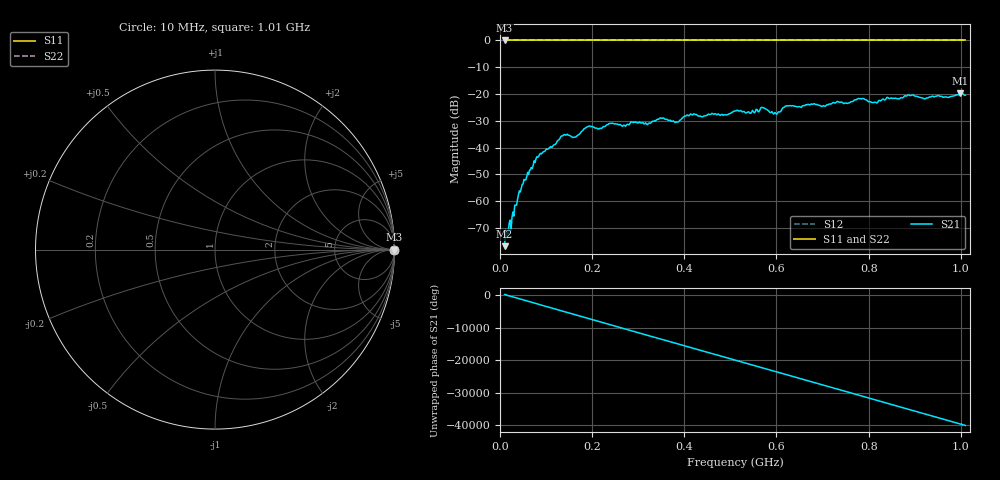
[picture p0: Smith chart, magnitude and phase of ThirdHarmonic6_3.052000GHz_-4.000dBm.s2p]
! 8/17/2025 8:52:04 AM
! C:\ANRITSUVNA\TEMP\TEMP.S2P
! CHANNEL.1
! TR.MEASUREMENT
! RAW.DATA
! RF.CORRECTION.OFF
! AVERAGING.OFF
! IF.BANDWIDTH: 5KHZ
! SWEEPTYPE:  FREQ.SWEEP(Linear)
! Reference Plane Port Info
! PORT:  PORT1  PORT2
! DISTANCE:  0  m  0  m
! TIME:  0  s  0  s
! PHASE.OFFSET:  0  deg.  0  deg.
! LOSS:  0  dB  0  dB
! REF.LOSS:  0  dB  0  dB
! REF.FREQ:  0  Hz  0  Hz
! Power Info
! POWER:  -20  dBm  -20  dBm
! EFF.POWER:  -20  dBm  -20  dBm
! SOURCE.ATTEN:  0  dB  0  dB
! TEST.ATTEN:  0  dB  0  dB
# GHZ S RI R 50.0
! FREQ.GHZ  S11RE  S11IM  S21RE  S21IM  S12RE  S12IM  S22RE  S22IM
!; PortSelection: Port_12
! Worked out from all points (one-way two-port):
!   501 points, 10 MHz to 1.01 GHz, reference 50 ohm
!   highest |S21| = -19.75 dB at 998 MHz (marker M1); lowest = -76.9 dB at 10 MHz (marker M2)
!   lowest |S11| = 0.0 dB at 10 MHz (marker M3)
!   |S11| at or under -10 dB: nowhere
!   |S22| runs from 0.0 to 0.0 dB; largest |S21 - S12| = 1.1
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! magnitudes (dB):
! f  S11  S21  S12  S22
! 10 MHz  0.0  -76.9  0.0  0.0
! 44 MHz  0.0  -56.6  0.0  0.0
! 78 MHz  0.0  -44.2  0.0  0.0
! 136 MHz  0.0  -35.7  0.0  0.0
! 162 MHz  0.0  -36.1  0.0  0.0
! 178 MHz  0.0  -33.8  0.0  0.0
! 194 MHz  0.0  -31.9  0.0  0.0
! 322 MHz  0.0  -31.1  0.0  0.0
! 344 MHz  0.0  -29.5  0.0  0.0
! 384 MHz  0.0  -30.4  0.0  0.0
! 416 MHz  0.0  -27.7  0.0  0.0
! 510 MHz  0.0  -26.4  0.0  0.0
! 570 MHz  0.0  -25.0  0.0  0.0
! 598 MHz  0.0  -27.0  0.0  0.0
! 624 MHz  0.0  -24.4  0.0  0.0
! 678 MHz  0.0  -23.8  0.0  0.0
! 702 MHz  0.0  -24.4  0.0  0.0
! 782 MHz  0.0  -21.7  0.0  0.0
! 814 MHz  0.0  -23.0  0.0  0.0
! 844 MHz  0.0  -21.6  0.0  0.0
! 998 MHz  0.0  -19.8  0.0  0.0
! 1.01 GHz  0.0  -20.4  0.0  0.0
